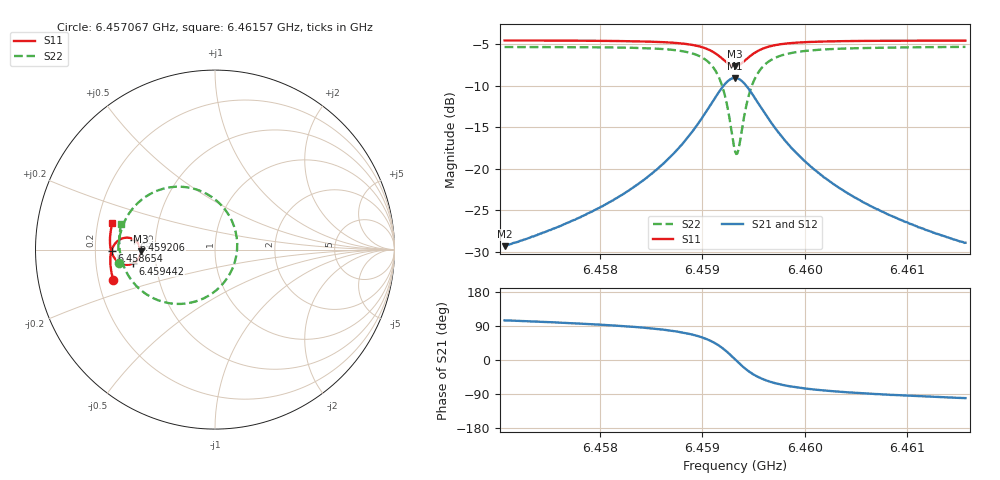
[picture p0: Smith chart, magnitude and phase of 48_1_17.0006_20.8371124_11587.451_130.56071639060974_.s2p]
#  HZ  S  RI  R  50.00
! Rohde & Schwarz Vector Network Analyzer
! Rohde-Schwarz,ZNB20-2Port,1311601062101988,3.16
! Created: UTC 3/20/2024, 10:54:10 PM
! freq[Hz]  re:S11  im:S11  re:S21  im:S21  re:S12  im:S12  re:S22  im:S22
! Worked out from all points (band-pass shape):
!   401 points, 6.457067 GHz to 6.46157 GHz, reference 50 ohm
!   highest |S21| = -9.06 dB at 6.459319 GHz (marker M1); lowest = -29.3 dB at 6.457067 GHz (marker M2)
!   |S21| within 3 dB of the highest: 6.459093 GHz to 6.459543 GHz (450.3 kHz wide, 0.00697 % of centre)
!   lowest |S11| = -7.7 dB at 6.459319 GHz (marker M3), VSWR 2.41, Z = 20.7 - j0.491 ohm
!   |S11| at or under -10 dB: nowhere
!   |S22| runs from -18.2 to -5.3 dB; largest |S21 - S12| = 0.014
!   S11 on the Smith chart (normalised r, x): 6.457067 GHz: 0.26, -0.13; 6.458654 GHz: 0.27, -0.00; 6.459206 GHz: 0.38, +0.05; 6.459442 GHz: 0.37, -0.07; 6.46157 GHz: 0.26, +0.12
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6.4570674e9  -0.5679 -0.1667  -0.00861 0.0332  -0.00683 0.0332  -0.535 -0.0757
6.4578215e9  -0.5811 -0.1002  -0.00519 0.0517  -0.00258 0.0509  -0.5389 0.0138
6.4582042e9  -0.5836 -0.0617  0.000268 0.0693  0.00343 0.0679  -0.5309 0.0748
6.4585757e9  -0.5794 -0.017  0.0155 0.1007  0.0194 0.0979  -0.5028 0.1591
6.4586544e9  -0.5765 -0.00585  0.022 0.1108  0.0261 0.1074  -0.4904 0.1828
6.4588458e9  -0.5627 0.0247  0.0507 0.1428  0.0548 0.1376  -0.4362 0.2535
6.4589809e9  -0.5405 0.0491  0.0947 0.1714  0.0979 0.1646  -0.3551 0.3132
6.4591159e9  -0.4957 0.0663  0.1841 0.1875  0.1848 0.1801  -0.1921 0.3502
6.459206e9  -0.4502 0.0554  0.2755 0.1546  0.2758 0.1489  -0.0227 0.2962
6.4592735e9  -0.4208 0.0221  0.3365 0.0807  0.3387 0.0752  0.093 0.1622
6.4593185e9  -0.414 -0.00981  0.3524 0.0111  0.3562 0.00412  0.1238 0.0322
6.4593523e9  -0.4183 -0.0339  0.3457 -0.0423  0.3498 -0.0516  0.1104 -0.069
6.4593973e9  -0.4343 -0.0605  0.3159 -0.1028  0.3183 -0.115  0.05 -0.1833
6.4594423e9  -0.4568 -0.0771  0.2728 -0.1441  0.2719 -0.1577  -0.0376 -0.258
6.4595324e9  -0.501 -0.0841  0.1863 -0.1749  0.1799 -0.1865  -0.2097 -0.3026
6.4595999e9  -0.5257 -0.0767  0.1372 -0.1725  0.1291 -0.1815  -0.3044 -0.2865
6.4596787e9  -0.5456 -0.0635  0.0971 -0.1601  0.0885 -0.1663  -0.3792 -0.2508
6.4598475e9  -0.5685 -0.0339  0.0495 -0.1296  0.0419 -0.1321  -0.4639 -0.1724
6.4600727e9  -0.5806 -0.000303  0.0224 -0.0992  0.0164 -0.0997  -0.5081 -0.0936
6.4603991e9  -0.5853 0.0391  0.00656 -0.0724  0.00231 -0.0719  -0.5291 -0.016
6.4608268e9  -0.5836 0.0826  -0.00156 -0.0527  -0.00441 -0.0519  -0.5335 0.0542
6.4615696e9  -0.5718 0.1488  -0.00658 -0.0354  -0.00828 -0.0342  -0.5222 0.1431
